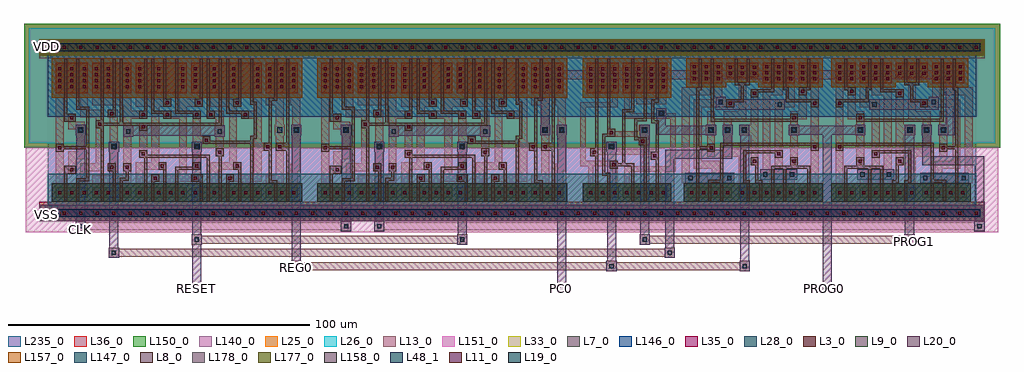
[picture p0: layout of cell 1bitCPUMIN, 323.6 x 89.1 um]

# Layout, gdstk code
from math import pi, radians
import gdstk
lib = gdstk.Library(unit=1e-6, precision=1e-07)
def R(c, l, rs):  # rectangles x0, y0, x1, y1
    for r in rs: c.add(gdstk.rectangle(r[:2], r[2:], *l))
def A(c, l, x, y, w, h, nx, ny, dx, dy):  # array of equal rectangles
    R(c, l, [(x+i*dx, y+j*dy, x+i*dx+w, y+j*dy+h) for i in range(nx) for j in range(ny)])
def P(c, l, *ps):  # polygons
    for p in ps: c.add(gdstk.Polygon(p, *l))
L3_0 = (3, 0)
L7_0 = (7, 0)
L8_0 = (8, 0)
L9_0 = (9, 0)
L11_0 = (11, 0)
L13_0 = (13, 0)
L19_0 = (19, 0)
L20_0 = (20, 0)
L25_0 = (25, 0)
L26_0 = (26, 0)
L28_0 = (28, 0)
L33_0 = (33, 0)
L35_0 = (35, 0)
L36_0 = (36, 0)
L48_1 = (48, 1)
L140_0 = (140, 0)
L146_0 = (146, 0)
L147_0 = (147, 0)
L150_0 = (150, 0)
L151_0 = (151, 0)
L157_0 = (157, 0)
L158_0 = (158, 0)
L177_0 = (177, 0)
L178_0 = (178, 0)
L235_0 = (235, 0)

dffr = lib.new_cell('DFFR')
A(dffr, L3_0, -1.3, -1.3, 2.6, 2.6, 17, 2, 5.5, 55)
R(dffr, L3_0, [(2.8,5.1,13.4,8.5), (14.8,5.1,27.8,8.5), (29.2,5.1,46.2,8.5), (47.6,5.1,71,8.5), (72.4,5.1,83,8.5), (2.8,39.7,13.4,49.9), (14.8,39.7,27.8,49.9), (29.2,39.7,46.2,49.9), (47.6,39.7,71,49.9), (72.4,39.7,83,49.9)])
R(dffr, L7_0, [(-2.8,-2.7,90.8,2.7)])
P(dffr, L7_0, [(1.4,38.3),(1.4,51.3),(-2.8,51.3),(-2.8,57.7),(90.8,57.7),(90.8,51.3),(84.4,51.3),(84.4,38.3)])
P(dffr, L8_0, [(34.4,3.9),(34.4,12.9),(37,12.9),(37,10.3),(35.4,10.3),(35.4,3.9)],
  [(50.4,3.9),(50.4,10.3),(47.6,10.3),(47.6,12.9),(51.4,12.9),(51.4,3.9)],
  [(59.2,3.9),(59.2,12.9),(61.8,12.9),(61.8,10.3),(60.2,10.3),(60.2,3.9)],
  [(5.6,3.9),(5.6,15.6),(9.4,15.6),(9.4,13),(6.6,13),(6.6,3.9)],
  [(21.6,3.9),(21.6,13.9),(20,13.9),(20,16.5),(22.6,16.5),(22.6,3.9)],
  [(24,3.9),(24,11.7),(25.9,11.7),(25.9,13.9),(25.1,13.9),(25.1,16.5),(27.7,16.5),(27.7,13.9),(26.9,13.9),(26.9,10.7),(25,10.7),(25,3.9)],
  [(38.4,3.9),(38.4,14.3),(36.8,14.3),(36.8,16.9),(39.4,16.9),(39.4,3.9)],
  [(42.4,3.9),(42.4,15.3),(48.2,15.3),(48.2,16.9),(50.8,16.9),(50.8,14.3),(43.4,14.3),(43.4,3.9)],
  [(63.2,3.9),(63.2,14.3),(61.6,14.3),(61.6,16.9),(64.2,16.9),(64.2,3.9)],
  [(32,3.9),(32,18.3),(30.4,18.3),(30.4,20.9),(33,20.9),(33,19.3),(53.8,19.3),(53.8,3.9),(52.8,3.9),(52.8,18.3),(33,18.3),(33,3.9)],
  [(56.8,3.9),(56.8,18.9),(55.8,18.9),(55.8,21.5),(58.4,21.5),(58.4,18.9),(57.8,18.9),(57.8,3.9)],
  [(5.6,30.3),(5.6,51.1),(6.6,51.1),(6.6,32.9),(9.4,32.9),(9.4,30.3)],
  [(9.6,3.9),(9.6,11.6),(12.9,11.6),(12.9,21.2),(5.4,21.2),(5.4,20.4),(2.8,20.4),(2.8,23),(5.4,23),(5.4,22.2),(12.9,22.2),(12.9,34.3),(9.6,34.3),(9.6,51.1),(10.6,51.1),(10.6,35.3),(13.9,35.3),(13.9,10.6),(10.6,10.6),(10.6,3.9)],
  [(20,31.7),(20,34.3),(21.6,34.3),(21.6,51.1),(22.6,51.1),(22.6,31.7)],
  [(30.4,31.3),(30.4,33.9),(32,33.9),(32,51.1),(33,51.1),(33,31.3)],
  [(38.4,31.3),(38.4,32.9),(34.4,32.9),(34.4,51.1),(35.4,51.1),(35.4,33.9),(41,33.9),(41,31.3)],
  [(38.4,35.3),(38.4,51.1),(39.4,51.1),(39.4,37.9),(41,37.9),(41,35.3)],
  [(48.2,31.3),(48.2,32.9),(42.4,32.9),(42.4,51.1),(43.4,51.1),(43.4,33.9),(50.8,33.9),(50.8,31.3)],
  [(48.8,35.3),(48.8,37.9),(50.4,37.9),(50.4,51.1),(51.4,51.1),(51.4,35.3)],
  [(52.8,31.3),(52.8,51.1),(53.8,51.1),(53.8,33.9),(55.4,33.9),(55.4,31.3)],
  [(17.6,3.9),(17.6,28.1),(16,28.1),(16,30.7),(17.6,30.7),(17.6,51.1),(18.6,51.1),(18.6,29.9),(24,29.9),(24,51.1),(25,51.1),(25,29.9),(56.8,29.9),(56.8,51.1),(57.8,51.1),(57.8,28.9),(33,28.9),(33,27.3),(30.4,27.3),(30.4,28.9),(18.6,28.9),(18.6,3.9)],
  [(64.2,31.3),(64.2,32.9),(59.2,32.9),(59.2,51.1),(60.2,51.1),(60.2,33.9),(66.8,33.9),(66.8,31.3)],
  [(61.6,35.3),(61.6,37.9),(63.2,37.9),(63.2,51.1),(64.2,51.1),(64.2,35.3)],
  [(67.2,3.9),(67.2,22.9),(51.4,22.9),(51.4,25.5),(54,25.5),(54,23.9),(67.2,23.9),(67.2,25.7),(68.4,25.7),(68.4,35.9),(67.2,35.9),(67.2,51.1),(68.2,51.1),(68.2,36.9),(69.4,36.9),(69.4,24.7),(68.2,24.7),(68.2,3.9)],
  [(75.2,3.9),(75.2,9.9),(73.3,9.9),(73.3,20.7),(71.7,20.7),(71.7,23.3),(73.3,23.3),(73.3,38.3),(75.2,38.3),(75.2,51.1),(76.2,51.1),(76.2,37.3),(74.3,37.3),(74.3,10.9),(76.2,10.9),(76.2,3.9)],
  [(79.2,3.9),(79.2,20.7),(75.7,20.7),(75.7,23.3),(79.2,23.3),(79.2,51.1),(80.2,51.1),(80.2,3.9)])
R(dffr, L9_0, [(1.4,3.7,84.4,9.9), (-2.8,52.3,90.8,57.7)])
A(dffr, L11_0, -0.5, -0.5, 1, 1, 17, 2, 5.5, 55)
A(dffr, L11_0, 7.6, 6.3, 1, 1, 4, 2, 4, 35)
A(dffr, L11_0, 40.4, 6.3, 1, 1, 3, 1, 4, 0)
A(dffr, L11_0, 65.2, 6.3, 1, 1, 4, 1, 4, 0)
A(dffr, L11_0, 3.6, 41.3, 1, 1, 1, 4, 0, 2)
A(dffr, L11_0, 7.6, 41.3, 1, 1, 1, 4, 0, 2)
A(dffr, L11_0, 19.6, 41.3, 1, 1, 1, 4, 0, 2)
A(dffr, L11_0, 26, 41.3, 1, 1, 1, 4, 0, 2)
A(dffr, L11_0, 30, 41.3, 1, 1, 1, 4, 0, 2)
A(dffr, L11_0, 44.4, 41.3, 1, 1, 1, 4, 0, 2)
A(dffr, L11_0, 48.4, 41.3, 1, 1, 1, 4, 0, 2)
A(dffr, L11_0, 69.2, 41.3, 1, 1, 3, 4, 4, 2)
A(dffr, L11_0, 77.2, 41.3, 1, 1, 1, 4, 0, 2)
A(dffr, L11_0, 81.2, 41.3, 1, 1, 1, 4, 0, 2)
A(dffr, L11_0, 7.6, 43.3, 1, 1, 4, 3, 4, 2)
R(dffr, L11_0, [(3.6,6.3,4.6,7.3), (7.6,6.3,8.6,7.3), (19.6,6.3,20.6,7.3), (26,6.3,27,7.3), (30,6.3,31,7.3), (36.4,6.3,37.4,7.3), (36.4,6.3,37.4,7.3), (40.4,6.3,41.4,7.3), (54.8,6.3,55.8,7.3), (54.8,6.3,55.8,7.3), (61.2,6.3,62.2,7.3), (61.2,6.3,62.2,7.3), (65.2,6.3,66.2,7.3), (77.2,6.3,78.2,7.3), (81.2,6.3,82.2,7.3), (35.2,11.1,36.2,12.1), (48.4,11.1,49.4,12.1), (60,11.1,61,12.1), (7.6,13.8,8.6,14.8), (20.8,14.7,21.8,15.7), (25.9,14.7,26.9,15.7), (37.6,15.1,38.6,16.1), (49,15.1,50,16.1), (62.4,15.1,63.4,16.1), (31.2,19.1,32.2,20.1), (56.6,19.7,57.6,20.7), (3.6,21.2,4.6,22.2), (72.5,21.5,73.5,22.5), (76.5,21.5,77.5,22.5), (52.2,23.7,53.2,24.7), (31.2,28.1,32.2,29.1), (16.8,28.9,17.8,29.9), (7.6,31.1,8.6,32.1), (31.2,32.1,32.2,33.1), (39.2,32.1,40.2,33.1), (49,32.1,50,33.1), (53.6,32.1,54.6,33.1), (65,32.1,66,33.1), (20.8,32.5,21.8,33.5), (39.2,36.1,40.2,37.1), (49.6,36.1,50.6,37.1), (62.4,36.1,63.4,37.1), (36.4,41.3,37.4,42.3), (36.4,41.3,37.4,42.3), (54.8,41.3,55.8,42.3), (54.8,41.3,55.8,42.3), (61.2,41.3,62.2,42.3), (61.2,41.3,62.2,42.3), (36.4,43.3,37.4,44.3), (36.4,43.3,37.4,44.3), (54.8,43.3,55.8,44.3), (54.8,43.3,55.8,44.3), (61.2,43.3,62.2,44.3), (61.2,43.3,62.2,44.3), (36.4,45.3,37.4,46.3), (36.4,45.3,37.4,46.3), (54.8,45.3,55.8,46.3), (54.8,45.3,55.8,46.3), (61.2,45.3,62.2,46.3), (61.2,45.3,62.2,46.3), (36.4,47.3,37.4,48.3), (36.4,47.3,37.4,48.3), (54.8,47.3,55.8,48.3), (54.8,47.3,55.8,48.3), (61.2,47.3,62.2,48.3), (61.2,47.3,62.2,48.3)])
R(dffr, L13_0, [(2.8,5.1,5.4,49.9), (30.4,18.3,33,29.9)])
P(dffr, L13_0, [(-1.3,-1.3),(-1.3,1.3),(6.8,1.3),(6.8,8.5),(9.4,8.5),(9.4,1.3),(18.8,1.3),(18.8,8.5),(21.4,8.5),(21.4,1.3),(35.6,1.3),(35.6,8.5),(38.2,8.5),(38.2,1.3),(43.6,1.3),(43.6,8.5),(46.2,8.5),(46.2,1.3),(47.6,1.3),(47.6,8.5),(50.2,8.5),(50.2,1.3),(60.4,1.3),(60.4,8.5),(63,8.5),(63,1.3),(68.4,1.3),(68.4,8.5),(71,8.5),(71,1.3),(76.4,1.3),(76.4,8.5),(79,8.5),(79,1.3),(89.3,1.3),(89.3,-1.3)],
  [(6.8,13),(6.8,20.5),(9.7,20.5),(9.7,25.8),(9.3,25.8),(9.3,27.7),(6.8,27.7),(6.8,32.9),(9.4,32.9),(9.4,30.3),(12.3,30.3),(12.3,29.2),(12.7,29.2),(12.7,25.8),(12.3,25.8),(12.3,17.9),(9.4,17.9),(9.4,13)],
  [(48.2,14.3),(48.2,20.3),(47.8,20.3),(47.8,23.7),(48.2,23.7),(48.2,33.9),(50.8,33.9),(50.8,25.5),(54,25.5),(54,22.9),(51.2,22.9),(51.2,20.3),(50.8,20.3),(50.8,14.3)],
  [(55.8,18.9),(55.8,25.3),(55.4,25.3),(55.4,28.7),(55.8,28.7),(55.8,31.3),(52.8,31.3),(52.8,33.9),(58.4,33.9),(58.4,28.7),(58.8,28.7),(58.8,25.3),(58.4,25.3),(58.4,18.9)],
  [(20,13.9),(20,16.5),(20.7,16.5),(20.7,20.3),(20.3,20.3),(20.3,23.7),(20.7,23.7),(20.7,31.7),(20,31.7),(20,34.3),(23.3,34.3),(23.3,23.7),(23.7,23.7),(23.7,20.3),(23.3,20.3),(23.3,13.9)],
  [(10.8,5.1),(10.8,16.5),(16,16.5),(16,31.7),(10.8,31.7),(10.8,49.9),(13.4,49.9),(13.4,34.3),(18.6,34.3),(18.6,13.9),(13.4,13.9),(13.4,5.1)],
  [(14.8,5.1),(14.8,12.5),(25.1,12.5),(25.1,35.7),(14.8,35.7),(14.8,49.9),(17.4,49.9),(17.4,38.3),(27.7,38.3),(27.7,33.9),(33,33.9),(33,31.3),(27.7,31.3),(27.7,28.7),(28.5,28.7),(28.5,25.3),(27.7,25.3),(27.7,9.9),(17.4,9.9),(17.4,5.1)],
  [(25.2,5.1),(25.2,8.5),(29.2,8.5),(29.2,16.9),(34.4,16.9),(34.4,35.3),(29.2,35.3),(29.2,39.7),(25.2,39.7),(25.2,49.9),(31.8,49.9),(31.8,37.9),(41,37.9),(41,35.3),(37,35.3),(37,16.9),(39.4,16.9),(39.4,14.3),(31.8,14.3),(31.8,5.1)],
  [(39.6,5.1),(39.6,10.3),(34.4,10.3),(34.4,12.9),(43.6,12.9),(43.6,31.3),(38.4,31.3),(38.4,33.9),(43.6,33.9),(43.6,49.9),(46.2,49.9),(46.2,37.9),(51.4,37.9),(51.4,35.3),(46.2,35.3),(46.2,12.9),(50.2,12.9),(50.2,10.3),(42.2,10.3),(42.2,5.1)],
  [(54,5.1),(54,16.9),(60.2,16.9),(60.2,35.3),(54,35.3),(54,49.9),(56.6,49.9),(56.6,37.9),(64.2,37.9),(64.2,35.3),(62.8,35.3),(62.8,16.9),(64.2,16.9),(64.2,14.3),(56.6,14.3),(56.6,5.1)],
  [(64.4,5.1),(64.4,10.3),(59.2,10.3),(59.2,12.9),(68.4,12.9),(68.4,31.3),(64.2,31.3),(64.2,33.9),(68.4,33.9),(68.4,49.9),(71,49.9),(71,23.3),(74.3,23.3),(74.3,20.7),(71,20.7),(71,10.3),(67,10.3),(67,5.1)],
  [(72.4,5.1),(72.4,12.5),(75.7,12.5),(75.7,25.8),(75.3,25.8),(75.3,29.2),(75.7,29.2),(75.7,35.7),(72.4,35.7),(72.4,49.9),(75,49.9),(75,38.3),(78.3,38.3),(78.3,29.2),(78.7,29.2),(78.7,25.8),(78.3,25.8),(78.3,9.9),(75,9.9),(75,5.1)],
  [(80.4,5.1),(80.4,16.4),(81.2,16.4),(81.2,25.8),(80.8,25.8),(80.8,29.2),(81.2,29.2),(81.2,35.7),(80.4,35.7),(80.4,49.9),(83,49.9),(83,38.3),(83.8,38.3),(83.8,29.2),(84.2,29.2),(84.2,25.8),(83.8,25.8),(83.8,13.8),(83,13.8),(83,5.1)],
  [(6.8,39.7),(6.8,53.7),(-1.3,53.7),(-1.3,56.3),(89.3,56.3),(89.3,53.7),(79,53.7),(79,39.7),(76.4,39.7),(76.4,53.7),(63,53.7),(63,39.7),(60.4,39.7),(60.4,53.7),(50.2,53.7),(50.2,39.7),(47.6,39.7),(47.6,53.7),(38.2,53.7),(38.2,39.7),(35.6,39.7),(35.6,53.7),(21.4,53.7),(21.4,39.7),(18.8,39.7),(18.8,53.7),(9.4,53.7),(9.4,39.7)])
R(dffr, L19_0, [(26.1,26.3,27.5,27.7), (56.4,26.3,57.8,27.7)])
P(dffr, L20_0, [(25.1,25.3),(25.1,29.1),(58.8,29.1),(58.8,25.3),(55.4,25.3),(55.4,25.7),(28.5,25.7),(28.5,25.3)])
R(dffr, L25_0, [(-6.3,23.2,94.3,61.3)])
R(dffr, L26_0, [(-6.3,23.2,94.3,61.3)])
R(dffr, L28_0, [(-2.8,-2.7,90.8,2.7), (1.4,38.3,84.4,51.3)])
P(dffr, L33_0, [(-2.8,-2.7),(-2.8,3.7),(1.4,3.7),(1.4,9.9),(84.4,9.9),(84.4,3.7),(90.8,3.7),(90.8,-2.7)],
  [(1.4,38.3),(1.4,51.3),(-2.8,51.3),(-2.8,57.7),(90.8,57.7),(90.8,51.3),(84.4,51.3),(84.4,38.3)])
R(dffr, L35_0, [(-2.8,52.3,90.8,57.7)])
P(dffr, L35_0, [(-2.8,-2.7),(-2.8,3.7),(1.4,3.7),(1.4,9.9),(84.4,9.9),(84.4,3.7),(90.8,3.7),(90.8,-2.7)])
R(dffr, L36_0, [(-7.8,21.7,95.8,62.8)])
R(dffr, L48_1, [(-1.3,-1.3,89.3,1.3), (21.1,21.1,22.9,22.9), (48.6,21.1,50.4,22.9), (10.1,26.6,11.9,28.4), (76.1,26.6,77.9,28.4), (81.6,26.6,83.4,28.4), (-1.3,53.7,89.3,56.3)])
R(dffr, L140_0, [(-6.3,23.2,94.3,61.3)])
R(dffr, L147_0, [(0,2.3,88,13.1)])
R(dffr, L150_0, [(-7.8,21.7,95.8,62.8)])
R(dffr, L151_0, [(-7.2,-6.3,95.2,21.7)])
R(dffr, L157_0, [(1.4,38.3,84.4,51.3)])
R(dffr, L158_0, [(1.4,3.7,84.4,9.9)])
R(dffr, L177_0, [(-2.8,52.3,90.8,57.7)])
R(dffr, L178_0, [(-2.8,-2.7,90.8,2.7)])
R(dffr, L235_0, [(0,0,88,55), (0,0,88,55)])
dffr.add(gdstk.Label('CK', (11,25.3), layer=235, texttype=0))
dffr.add(gdstk.Label('D', (22,25), layer=235, texttype=0))
dffr.add(gdstk.Label('RST', (49.5,24.3), layer=235, texttype=0))
dffr.add(gdstk.Label('QB', (77,25.1), layer=235, texttype=0))
dffr.add(gdstk.Label('Q', (82.5,24.8), layer=235, texttype=0))
dffr.add(gdstk.Label('n0', (4.1,12.9), layer=235, texttype=0))
dffr.add(gdstk.Label('n7', (13.4,15.2), layer=235, texttype=0))
dffr.add(gdstk.Label('n10', (19.5,10.6), layer=235, texttype=0))
dffr.add(gdstk.Label('n15', (23,5.1), layer=235, texttype=0))
dffr.add(gdstk.Label('n8', (30.5,12.1), layer=235, texttype=0))
dffr.add(gdstk.Label('n16', (23.2,44.3), layer=235, texttype=0))
dffr.add(gdstk.Label('n8', (35.1,26.4), layer=235, texttype=0))
dffr.add(gdstk.Label('n14', (33,5.7), layer=235, texttype=0))
dffr.add(gdstk.Label('n6', (44.9,20), layer=235, texttype=0))
dffr.add(gdstk.Label('n22', (51.7,5.4), layer=235, texttype=0))
dffr.add(gdstk.Label('n26', (55.3,14.6), layer=235, texttype=0))
dffr.add(gdstk.Label('n12', (58,5.3), layer=235, texttype=0))
dffr.add(gdstk.Label('n4', (69.7,25.9), layer=235, texttype=0))
dffr.add(gdstk.Label('n27', (65.3,48), layer=235, texttype=0))
dffr.add(gdstk.Label('n23', (58,48.7), layer=235, texttype=0))
dffr.add(gdstk.Label('n13', (51.4,48.9), layer=235, texttype=0))
dffr.add(gdstk.Label('n9', (40.2,48.7), layer=235, texttype=0))
dffr.add(gdstk.Label('M20', (57.3,45.2), layer=235, texttype=0))
dffr.add(gdstk.Label('M13', (50.9,7), layer=235, texttype=0))
dffr.add(gdstk.Label('M25', (53.3,7), layer=235, texttype=0))
dffr.add(gdstk.Label('M30', (42.9,7), layer=235, texttype=0))
dffr.add(gdstk.Label('M11', (38.9,7), layer=235, texttype=0))
dffr.add(gdstk.Label('M7', (32.5,45), layer=235, texttype=0))
dffr.add(gdstk.Label('M6', (24.5,45), layer=235, texttype=0))
dffr.add(gdstk.Label('M12', (24.5,7), layer=235, texttype=0))
dffr.add(gdstk.Label('M10', (32.5,7), layer=235, texttype=0))
dffr.add(gdstk.Label('M4', (34.9,45), layer=235, texttype=0))
dffr.add(gdstk.Label('M27', (34.9,7), layer=235, texttype=0))
dffr.add(gdstk.Label('M5', (38.9,45), layer=235, texttype=0))
dffr.add(gdstk.Label('M28', (42.9,45), layer=235, texttype=0))
dffr.add(gdstk.Label('M23', (57.3,7), layer=235, texttype=0))
dffr.add(gdstk.Label('M21', (59.7,7), layer=235, texttype=0))
dffr.add(gdstk.Label('M14', (50.9,45), layer=235, texttype=0))
dffr.add(gdstk.Label('M16', (63.7,45), layer=235, texttype=0))
dffr.add(gdstk.Label('M22', (63.7,7), layer=235, texttype=0))
dffr.add(gdstk.Label('M17', (75.7,45), layer=235, texttype=0))
dffr.add(gdstk.Label('M18', (79.7,45), layer=235, texttype=0))
dffr.add(gdstk.Label('M26', (75.7,7), layer=235, texttype=0))
dffr.add(gdstk.Label('M24', (79.7,7), layer=235, texttype=0))
dffr.add(gdstk.Label('M31', (67.7,7), layer=235, texttype=0))
dffr.add(gdstk.Label('M29', (67.7,45), layer=235, texttype=0))
dffr.add(gdstk.Label('M34', (6.1,45), layer=235, texttype=0))
dffr.add(gdstk.Label('M0', (10.1,45), layer=235, texttype=0))
dffr.add(gdstk.Label('M2', (18.1,45), layer=235, texttype=0))
dffr.add(gdstk.Label('M3', (22.1,45), layer=235, texttype=0))
dffr.add(gdstk.Label('M32', (6.1,7), layer=235, texttype=0))
dffr.add(gdstk.Label('M1', (10.1,7), layer=235, texttype=0))
dffr.add(gdstk.Label('M8', (18.1,7), layer=235, texttype=0))
dffr.add(gdstk.Label('M9', (22.1,7), layer=235, texttype=0))
dffr.add(gdstk.Label('D', (22,22), layer=48, texttype=0))
dffr.add(gdstk.Label('RST', (49.5,22), layer=48, texttype=0))
dffr.add(gdstk.Label('QB', (77,27.5), layer=48, texttype=0))
dffr.add(gdstk.Label('Q', (82.5,27.5), layer=48, texttype=0))
dffr.add(gdstk.Label('gnd', (0,0), layer=48, texttype=0))
dffr.add(gdstk.Label('CK', (11,27.5), layer=48, texttype=0))
dffr.add(gdstk.Label('vdd', (0,55), layer=48, texttype=0))
dffr.add(gdstk.Label('via1', (57.1,27), layer=19, texttype=0))
dffr.add(gdstk.Label('via1', (26.8,27), layer=19, texttype=0))

xor2 = lib.new_cell('XOR2')
A(xor2, L3_0, -1.3, -1.3, 2.6, 2.6, 7, 2, 5.5, 55)
R(xor2, L3_0, [(2.8,5.1,13.4,8.5), (14.8,5.1,29.4,8.5), (2.8,39.7,13.4,49.9), (14.8,39.7,29.4,49.9)])
R(xor2, L7_0, [(-2.8,-2.7,35.8,2.7)])
P(xor2, L7_0, [(1.4,38.3),(1.4,51.3),(-2.8,51.3),(-2.8,57.7),(35.8,57.7),(35.8,51.3),(30.8,51.3),(30.8,38.3)])
P(xor2, L8_0, [(5.6,3.9),(5.6,18.8),(4,18.8),(4,21.4),(5.6,21.4),(5.6,51.1),(6.6,51.1),(6.6,3.9)],
  [(9.6,3.9),(9.6,12.3),(7.9,12.3),(7.9,26.3),(9.6,26.3),(9.6,51.1),(10.6,51.1),(10.6,27.9),(12.2,27.9),(12.2,25.3),(8.9,25.3),(8.9,13.3),(10.6,13.3),(10.6,3.9)],
  [(17.6,3.9),(17.6,15.5),(13,15.5),(13,14.7),(10.4,14.7),(10.4,17.3),(13,17.3),(13,16.5),(14.6,16.5),(14.6,34.4),(17.6,34.4),(17.6,51.1),(18.6,51.1),(18.6,33.4),(15.6,33.4),(15.6,16.5),(18.6,16.5),(18.6,3.9)],
  [(21.6,3.9),(21.6,22.5),(20,22.5),(20,24.1),(18.5,24.1),(18.5,31.4),(21.6,31.4),(21.6,51.1),(22.6,51.1),(22.6,30.4),(19.5,30.4),(19.5,25.1),(22.6,25.1),(22.6,3.9)],
  [(25.6,3.9),(25.6,17.7),(24,17.7),(24,20.3),(25.6,20.3),(25.6,29.8),(24.1,29.8),(24.1,37.5),(25.6,37.5),(25.6,51.1),(26.6,51.1),(26.6,36.5),(25.1,36.5),(25.1,30.8),(26.6,30.8),(26.6,3.9)])
R(xor2, L9_0, [(1.4,3.7,30.8,9.9), (-2.8,52.3,35.8,57.7)])
A(xor2, L11_0, -0.5, -0.5, 1, 1, 7, 2, 5.5, 55)
A(xor2, L11_0, 7.6, 6.3, 1, 1, 4, 2, 4, 35)
A(xor2, L11_0, 3.6, 41.3, 1, 1, 1, 4, 0, 2)
A(xor2, L11_0, 7.6, 41.3, 1, 1, 1, 4, 0, 2)
A(xor2, L11_0, 19.6, 41.3, 1, 1, 1, 4, 0, 2)
A(xor2, L11_0, 27.6, 41.3, 1, 1, 1, 4, 0, 2)
A(xor2, L11_0, 7.6, 43.3, 1, 1, 4, 3, 4, 2)
R(xor2, L11_0, [(3.6,6.3,4.6,7.3), (7.6,6.3,8.6,7.3), (19.6,6.3,20.6,7.3), (23.6,6.3,24.6,7.3), (23.6,6.3,24.6,7.3), (27.6,6.3,28.6,7.3), (11.2,15.5,12.2,16.5), (24.8,18.5,25.8,19.5), (4.8,19.6,5.8,20.6), (20.8,23.3,21.8,24.3), (10.4,26.1,11.4,27.1), (23.6,41.3,24.6,42.3), (23.6,41.3,24.6,42.3), (23.6,43.3,24.6,44.3), (23.6,43.3,24.6,44.3), (23.6,45.3,24.6,46.3), (23.6,45.3,24.6,46.3), (23.6,47.3,24.6,48.3), (23.6,47.3,24.6,48.3)])
R(xor2, L13_0, [(22.8,5.1,25.4,8.5), (6.8,39.7,9.4,49.9)])
P(xor2, L13_0, [(-1.3,-1.3),(-1.3,1.3),(6.8,1.3),(6.8,8.5),(9.4,8.5),(9.4,1.3),(18.8,1.3),(18.8,8.5),(21.4,8.5),(21.4,1.3),(34.3,1.3),(34.3,-1.3)],
  [(24,17.7),(24,19.3),(6.6,19.3),(6.6,18.8),(4,18.8),(4,21.4),(6.6,21.4),(6.6,21.1),(9.3,21.1),(9.3,23.7),(12.7,23.7),(12.7,21.1),(26.6,21.1),(26.6,17.7)],
  [(20,22.5),(20,25.3),(9.6,25.3),(9.6,27.9),(12.2,27.9),(12.2,27.1),(20,27.1),(20,29.2),(23.7,29.2),(23.7,22.5)],
  [(2.8,5.1),(2.8,8.5),(3.2,8.5),(3.2,15.5),(0.7,15.5),(0.7,36.8),(11.2,36.8),(11.2,39.7),(10.8,39.7),(10.8,49.9),(13.4,49.9),(13.4,39.7),(13,39.7),(13,35),(2.5,35),(2.5,17.3),(13,17.3),(13,8.5),(13.4,8.5),(13.4,5.1),(10.8,5.1),(10.8,8.5),(11.2,8.5),(11.2,14.7),(10.4,14.7),(10.4,15.5),(5,15.5),(5,8.5),(5.4,8.5),(5.4,5.1)],
  [(14.8,5.1),(14.8,8.5),(15.2,8.5),(15.2,15.5),(30.5,15.5),(30.5,31.3),(15.2,31.3),(15.2,39.7),(14.8,39.7),(14.8,49.9),(17.4,49.9),(17.4,39.7),(17,39.7),(17,33.1),(25.8,33.1),(25.8,34.7),(29.2,34.7),(29.2,33.1),(32.3,33.1),(32.3,13.7),(29,13.7),(29,8.5),(29.4,8.5),(29.4,5.1),(26.8,5.1),(26.8,8.5),(27.2,8.5),(27.2,13.7),(17,13.7),(17,8.5),(17.4,8.5),(17.4,5.1)],
  [(19.2,36.1),(19.2,39.7),(18.8,39.7),(18.8,49.9),(21.4,49.9),(21.4,39.7),(21,39.7),(21,37.9),(27.4,37.9),(27.4,39.7),(26.8,39.7),(26.8,49.9),(29.4,49.9),(29.4,39.7),(29.2,39.7),(29.2,36.1)],
  [(2.8,39.7),(2.8,53.7),(-1.3,53.7),(-1.3,56.3),(34.3,56.3),(34.3,53.7),(25.4,53.7),(25.4,39.7),(22.8,39.7),(22.8,53.7),(5.4,53.7),(5.4,39.7)])
R(xor2, L25_0, [(-6.3,23.2,39.3,61.3)])
R(xor2, L26_0, [(-6.3,23.2,39.3,61.3)])
R(xor2, L28_0, [(-2.8,-2.7,35.8,2.7), (1.4,38.3,30.8,51.3)])
P(xor2, L33_0, [(-2.8,-2.7),(-2.8,3.7),(1.4,3.7),(1.4,9.9),(30.8,9.9),(30.8,3.7),(35.8,3.7),(35.8,-2.7)],
  [(1.4,38.3),(1.4,51.3),(-2.8,51.3),(-2.8,57.7),(35.8,57.7),(35.8,51.3),(30.8,51.3),(30.8,38.3)])
R(xor2, L35_0, [(-2.8,52.3,35.8,57.7)])
P(xor2, L35_0, [(-2.8,-2.7),(-2.8,3.7),(1.4,3.7),(1.4,9.9),(30.8,9.9),(30.8,3.7),(35.8,3.7),(35.8,-2.7)])
R(xor2, L36_0, [(-7.8,21.7,40.8,62.8)])
R(xor2, L48_1, [(-1.3,-1.3,34.3,1.3), (10.1,21.1,11.9,22.9), (21.1,26.6,22.9,28.4), (26.6,32.1,28.4,33.9), (-1.3,53.7,34.3,56.3)])
R(xor2, L140_0, [(-6.3,23.2,39.3,61.3)])
R(xor2, L146_0, [(0,31.9,33,52.7)])
R(xor2, L147_0, [(0,2.3,33,13.1)])
R(xor2, L150_0, [(-7.8,21.7,40.8,62.8)])
R(xor2, L151_0, [(-7.2,-6.3,40.2,21.7)])
R(xor2, L157_0, [(1.4,38.3,30.8,51.3)])
R(xor2, L158_0, [(1.4,3.7,30.8,9.9)])
R(xor2, L177_0, [(-2.8,52.3,35.8,57.7)])
R(xor2, L178_0, [(-2.8,-2.7,35.8,2.7)])
R(xor2, L235_0, [(0,0,33,55)])
xor2.add(gdstk.Label('Y', (27.5,33), layer=48, texttype=0))
xor2.add(gdstk.Label('A', (11,22), layer=48, texttype=0))
xor2.add(gdstk.Label('B', (22,27.5), layer=48, texttype=0))
xor2.add(gdstk.Label('vdd', (0,55), layer=48, texttype=0))
xor2.add(gdstk.Label('gnd', (0,0), layer=48, texttype=0))

mux2 = lib.new_cell('MUX2')
A(mux2, L3_0, -1.3, -1.3, 2.6, 2.6, 10, 2, 5.5, 55)
R(mux2, L3_0, [(2.8,5.1,9.4,8.5), (10.8,5.1,29.4,8.5), (31.6,5.1,46.2,8.5), (2.8,43.1,9.4,49.9), (10.8,43.1,21.4,49.9), (34.8,43.1,45.4,49.9), (22.8,44.8,33.4,49.9)])
R(mux2, L7_0, [(-2.8,-2.7,52.3,2.7)])
P(mux2, L7_0, [(1.4,41.7),(1.4,51.3),(-2.8,51.3),(-2.8,57.7),(52.3,57.7),(52.3,51.3),(46.8,51.3),(46.8,41.7),(33.4,41.7),(33.4,43.4),(22.8,43.4),(22.8,41.7)])
P(mux2, L8_0, [(5.6,3.9),(5.6,15.7),(9.7,15.7),(9.7,18.5),(12.3,18.5),(12.3,15.7),(18.6,15.7),(18.6,3.9),(17.6,3.9),(17.6,14.7),(14.6,14.7),(14.6,3.9),(13.6,3.9),(13.6,14.7),(6.6,14.7),(6.6,3.9)],
  [(21.6,3.9),(21.6,10.9),(22.8,10.9),(22.8,18.5),(25.4,18.5),(25.4,15.9),(23.8,15.9),(23.8,9.9),(22.6,9.9),(22.6,3.9)],
  [(25.6,3.9),(25.6,10.9),(26.8,10.9),(26.8,19.9),(17.4,19.9),(17.4,18.3),(14.8,18.3),(14.8,20.9),(27.8,20.9),(27.8,9.9),(26.6,9.9),(26.6,3.9)],
  [(34.4,3.9),(34.4,22.3),(5.4,22.3),(5.4,20.7),(2.8,20.7),(2.8,23.3),(35.4,23.3),(35.4,11),(39.4,11),(39.4,3.9),(38.4,3.9),(38.4,10),(35.4,10),(35.4,3.9)],
  [(6.8,39.1),(6.8,40.7),(5.6,40.7),(5.6,51.1),(6.6,51.1),(6.6,41.7),(9.4,41.7),(9.4,39.1)],
  [(2.8,35.1),(2.8,37.7),(12.8,37.7),(12.8,41.7),(13.6,41.7),(13.6,51.1),(14.6,51.1),(14.6,40.7),(13.8,40.7),(13.8,36.7),(5.4,36.7),(5.4,35.1)],
  [(22.8,38.4),(22.8,40),(17.6,40),(17.6,51.1),(18.6,51.1),(18.6,41),(25.4,41),(25.4,38.4)],
  [(30.8,35.1),(30.8,36.7),(27.6,36.7),(27.6,42.4),(25.6,42.4),(25.6,51.1),(26.6,51.1),(26.6,43.4),(29.6,43.4),(29.6,51.1),(30.6,51.1),(30.6,42.4),(28.6,42.4),(28.6,37.7),(33.4,37.7),(33.4,35.1)],
  [(9.7,30.3),(9.7,32.9),(12.3,32.9),(12.3,31.3),(37.6,31.3),(37.6,51.1),(38.6,51.1),(38.6,30.3)],
  [(42.4,3.9),(42.4,21.2),(39.8,21.2),(39.8,20.4),(37.2,20.4),(37.2,23),(39.8,23),(39.8,22.2),(42.4,22.2),(42.4,40.7),(41.6,40.7),(41.6,51.1),(42.6,51.1),(42.6,41.7),(43.4,41.7),(43.4,3.9)])
R(mux2, L9_0, [(1.4,3.7,47.6,9.9), (-2.8,52.3,52.3,57.7)])
A(mux2, L11_0, -0.5, -0.5, 1, 1, 10, 2, 5.5, 55)
A(mux2, L11_0, 3.6, 6.3, 1, 1, 4, 2, 4, 37.7)
A(mux2, L11_0, 15.6, 44, 1, 1, 1, 3, 0, 2)
A(mux2, L11_0, 19.6, 44, 1, 1, 1, 3, 0, 2)
A(mux2, L11_0, 35.6, 44, 1, 1, 1, 3, 0, 2)
A(mux2, L11_0, 43.6, 44, 1, 1, 1, 3, 0, 2)
A(mux2, L11_0, 3.6, 46, 1, 1, 4, 2, 4, 2)
R(mux2, L11_0, [(15.6,6.3,16.6,7.3), (19.6,6.3,20.6,7.3), (19.6,6.3,20.6,7.3), (23.6,6.3,24.6,7.3), (23.6,6.3,24.6,7.3), (27.6,6.3,28.6,7.3), (32.4,6.3,33.4,7.3), (36.4,6.3,37.4,7.3), (36.4,6.3,37.4,7.3), (40.4,6.3,41.4,7.3), (40.4,6.3,41.4,7.3), (44.4,6.3,45.4,7.3), (10.5,16.7,11.5,17.7), (23.6,16.7,24.6,17.7), (15.6,19.1,16.6,20.1), (38,21.2,39,22.2), (3.6,21.5,4.6,22.5), (10.5,31.1,11.5,32.1), (3.6,35.9,4.6,36.9), (31.6,35.9,32.6,36.9), (23.6,39.2,24.6,40.2), (7.6,39.9,8.6,40.9), (39.6,44,40.6,45), (39.6,44,40.6,45), (23.6,45.9,24.6,46.9), (27.6,45.9,28.6,46.9), (27.6,45.9,28.6,46.9), (31.6,45.9,32.6,46.9), (39.6,46,40.6,47), (39.6,46,40.6,47), (23.6,47.9,24.6,48.9), (27.6,47.9,28.6,48.9), (27.6,47.9,28.6,48.9), (31.6,47.9,32.6,48.9), (39.6,48,40.6,49), (39.6,48,40.6,49)])
R(mux2, L13_0, [(2.8,5.1,5.4,49.9)])
P(mux2, L13_0, [(-1.3,-1.3),(-1.3,1.3),(6.8,1.3),(6.8,8.5),(9.4,8.5),(9.4,1.3),(22.8,1.3),(22.8,8.5),(25.4,8.5),(25.4,1.3),(43.6,1.3),(43.6,8.5),(46.2,8.5),(46.2,1.3),(50.8,1.3),(50.8,-1.3)],
  [(31.6,5.1),(31.6,9.9),(30.8,9.9),(30.8,13.3),(34.2,13.3),(34.2,5.1)],
  [(10.8,5.1),(10.8,11.1),(10,11.1),(10,14.5),(13.4,14.5),(13.4,5.1)],
  [(37.2,18.7),(37.2,25.8),(36.8,25.8),(36.8,29.2),(37.2,29.2),(37.2,33.7),(39.8,33.7),(39.8,29.2),(40.2,29.2),(40.2,25.8),(39.8,25.8),(39.8,18.7)],
  [(22.8,15.9),(22.8,41),(25.4,41),(25.4,29.2),(29.2,29.2),(29.2,25.8),(25.4,25.8),(25.4,15.9)],
  [(9.7,15.9),(9.7,25.8),(9.3,25.8),(9.3,29.2),(9.7,29.2),(9.7,31.1),(6.8,31.1),(6.8,41.7),(9.4,41.7),(9.4,33.7),(12.3,33.7),(12.3,29.2),(12.7,29.2),(12.7,25.8),(12.3,25.8),(12.3,15.9)],
  [(14.8,5.1),(14.8,34.3),(14,34.3),(14,35.1),(10.8,35.1),(10.8,49.9),(13.4,49.9),(13.4,37.7),(17.4,37.7),(17.4,5.1)],
  [(18.8,5.1),(18.8,39.1),(14.8,39.1),(14.8,49.9),(17.4,49.9),(17.4,41.7),(21.4,41.7),(21.4,14.5),(22.2,14.5),(22.2,11.1),(21.4,11.1),(21.4,5.1)],
  [(26.8,5.1),(26.8,21.3),(31.7,21.3),(31.7,25.8),(31.3,25.8),(31.3,29.2),(31.7,29.2),(31.7,31.1),(26.8,31.1),(26.8,49.9),(29.4,49.9),(29.4,33.7),(34.3,33.7),(34.3,29.2),(34.7,29.2),(34.7,25.8),(34.3,25.8),(34.3,18.7),(29.4,18.7),(29.4,5.1)],
  [(35.6,5.1),(35.6,17.3),(41.6,17.3),(41.6,35.1),(30.8,35.1),(30.8,37.7),(33.6,37.7),(33.6,38.5),(34.8,38.5),(34.8,49.9),(37.4,49.9),(37.4,37.7),(44.2,37.7),(44.2,14.7),(38.2,14.7),(38.2,5.1)],
  [(39.6,5.1),(39.6,12.5),(43.6,12.5),(43.6,13.3),(45.6,13.3),(45.6,39.1),(38.8,39.1),(38.8,49.9),(41.4,49.9),(41.4,41.7),(48.2,41.7),(48.2,9.9),(42.2,9.9),(42.2,5.1)],
  [(6.8,43.1),(6.8,53.7),(-1.3,53.7),(-1.3,56.3),(50.8,56.3),(50.8,53.7),(45.4,53.7),(45.4,43.1),(42.8,43.1),(42.8,53.7),(33.4,53.7),(33.4,44.8),(30.8,44.8),(30.8,53.7),(25.4,53.7),(25.4,44.8),(22.8,44.8),(22.8,53.7),(21.4,53.7),(21.4,43.1),(18.8,43.1),(18.8,53.7),(9.4,53.7),(9.4,43.1)])
R(mux2, L19_0, [(31.8,10.9,33.2,12.3), (44.6,10.9,46,12.3), (11,12.1,12.4,13.5), (19.8,12.1,21.2,13.5), (15,35.3,16.4,36.7), (34.6,36.1,36,37.5)])
R(mux2, L20_0, [(30.8,9.9,47,13.3), (10,11.1,22.2,14.5)])
P(mux2, L20_0, [(14,34.3),(14,37.7),(33.6,37.7),(33.6,38.5),(37,38.5),(37,34.3)])
R(mux2, L25_0, [(-6.3,23.2,55.8,61.3)])
R(mux2, L26_0, [(-6.3,23.2,55.8,61.3)])
R(mux2, L28_0, [(-2.8,-2.7,52.3,2.7)])
P(mux2, L28_0, [(1.4,41.7),(1.4,51.3),(46.8,51.3),(46.8,41.7),(33.4,41.7),(33.4,43.4),(22.8,43.4),(22.8,41.7)])
P(mux2, L33_0, [(-2.8,-2.7),(-2.8,3.7),(1.4,3.7),(1.4,9.9),(47.6,9.9),(47.6,3.7),(52.3,3.7),(52.3,-2.7)],
  [(1.4,41.7),(1.4,51.3),(-2.8,51.3),(-2.8,57.7),(52.3,57.7),(52.3,51.3),(46.8,51.3),(46.8,41.7),(33.4,41.7),(33.4,43.4),(22.8,43.4),(22.8,41.7)])
R(mux2, L35_0, [(-2.8,52.3,52.3,57.7)])
P(mux2, L35_0, [(-2.8,-2.7),(-2.8,3.7),(1.4,3.7),(1.4,9.9),(47.6,9.9),(47.6,3.7),(52.3,3.7),(52.3,-2.7)])
R(mux2, L36_0, [(-7.8,21.7,57.3,62.8)])
A(mux2, L48_1, 26.6, 26.6, 1.8, 1.8, 3, 1, 5.5, 0)
R(mux2, L48_1, [(-1.3,-1.3,50.8,1.3), (10.1,26.6,11.9,28.4), (-1.3,53.7,50.8,56.3)])
R(mux2, L140_0, [(-6.3,23.2,55.8,61.3)])
R(mux2, L146_0, [(0,31.9,49.5,52.7)])
R(mux2, L147_0, [(0,2.3,49.5,13.1)])
R(mux2, L150_0, [(-7.8,21.7,57.3,62.8)])
R(mux2, L151_0, [(-7.2,-6.3,56.7,21.7)])
P(mux2, L157_0, [(1.4,41.7),(1.4,51.3),(46.8,51.3),(46.8,41.7),(33.4,41.7),(33.4,43.4),(22.8,43.4),(22.8,41.7)])
R(mux2, L158_0, [(1.4,3.7,47.6,9.9)])
R(mux2, L177_0, [(-2.8,52.3,52.3,57.7)])
R(mux2, L178_0, [(-2.8,-2.7,52.3,2.7)])
R(mux2, L235_0, [(0,0,49.5,55)])
mux2.add(gdstk.Label('B', (24.1,24.4), layer=235, texttype=0))
mux2.add(gdstk.Label('S', (11,29.8), layer=235, texttype=0))
mux2.add(gdstk.Label('SN', (4.1,29.7), layer=235, texttype=0))
mux2.add(gdstk.Label('PASS1', (46.9,25.1), layer=235, texttype=0))
mux2.add(gdstk.Label('OUT', (42.9,26.9), layer=235, texttype=0))
mux2.add(gdstk.Label('OUT', (16.1,27.2), layer=235, texttype=0))
mux2.add(gdstk.Label('PASS2', (20.1,24.3), layer=235, texttype=0))
mux2.add(gdstk.Label('Y', (33,24.2), layer=235, texttype=0))
mux2.add(gdstk.Label('A', (38.5,24.3), layer=235, texttype=0))
mux2.add(gdstk.Label('M6', (42.9,6.8), layer=235, texttype=0))
mux2.add(gdstk.Label('M7', (34.9,6.8), layer=235, texttype=0))
mux2.add(gdstk.Label('M5', (6.1,7), layer=235, texttype=0))
mux2.add(gdstk.Label('M1', (26.1,6.8), layer=235, texttype=0))
mux2.add(gdstk.Label('M4', (18.1,6.7), layer=235, texttype=0))
mux2.add(gdstk.Label('M3', (22.1,6.7), layer=235, texttype=0))
mux2.add(gdstk.Label('M4', (14.1,6.7), layer=235, texttype=0))
mux2.add(gdstk.Label('M7', (38.9,6.8), layer=235, texttype=0))
mux2.add(gdstk.Label('S', (11,27.5), layer=48, texttype=0))
mux2.add(gdstk.Label('B', (27.5,27.5), layer=48, texttype=0))
mux2.add(gdstk.Label('Y', (33,27.5), layer=48, texttype=0))
mux2.add(gdstk.Label('A', (38.5,27.5), layer=48, texttype=0))
mux2.add(gdstk.Label('gnd', (0,0), layer=48, texttype=0))
mux2.add(gdstk.Label('vdd', (0,55), layer=48, texttype=0))
mux2.add(gdstk.Label('via1', (20.5,12.8), layer=19, texttype=0))
mux2.add(gdstk.Label('via1', (32.5,11.6), layer=19, texttype=0))
mux2.add(gdstk.Label('via1', (11.7,12.8), layer=19, texttype=0))
mux2.add(gdstk.Label('via1', (45.3,11.6), layer=19, texttype=0))
mux2.add(gdstk.Label('via1', (35.3,36.8), layer=19, texttype=0))
mux2.add(gdstk.Label('via1', (15.7,36), layer=19, texttype=0))

via = lib.new_cell('Via')
R(via, L13_0, [(-1.7,-1.7,1.7,1.7)])
R(via, L19_0, [(-0.7,-0.7,0.7,0.7)])
R(via, L20_0, [(-1.7,-1.7,1.7,1.7)])

c_1bitcpumin = lib.new_cell('1bitCPUMIN')
R(c_1bitcpumin, L146_0, [(-12.2,18.2,163.8,39)])
c_1bitcpumin.add(gdstk.FlexPath([(-1.2,-18.1),(86.8,-18.1)], 2.6, ends="flush", simple_path=True, layer=13, datatype=0))  # L13_0
c_1bitcpumin.add(gdstk.FlexPath([(37.3,-22.5),(125.3,-22.5)], 2.6, ends="flush", simple_path=True, layer=13, datatype=0))  # L13_0
c_1bitcpumin.add(gdstk.FlexPath([(70.3,-31.3),(174.8,-31.3)], 2.6, ends="flush", simple_path=True, layer=13, datatype=0))  # L13_0
c_1bitcpumin.add(gdstk.FlexPath([(124.3,-26.9),(127.3,-26.9),(127.3,-26.9)], 2.6, ends="flush", simple_path=True, layer=13, datatype=0))  # L13_0
c_1bitcpumin.add(gdstk.FlexPath([(126,-26.9),(194.2,-26.9)], 2.6, ends="flush", simple_path=True, layer=13, datatype=0))  # L13_0
c_1bitcpumin.add(gdstk.FlexPath([(126,-26.9),(9.3,-26.9),(9.3,-26.9)], 2.6, ends="flush", simple_path=True, layer=13, datatype=0))  # L13_0
c_1bitcpumin.add(gdstk.FlexPath([(273.8,-22.5),(185.8,-22.5)], 2.6, ends="flush", simple_path=True, layer=13, datatype=0))  # L13_0
c_1bitcpumin.add(gdstk.FlexPath([(174.8,-31.3),(219,-31.3)], 2.6, ends="flush", simple_path=True, layer=13, datatype=0))  # L13_0
c_1bitcpumin.add(gdstk.FlexPath([(97.8,-18.1),(296.8,-18.1)], 2.6, ends="flush", simple_path=True, layer=13, datatype=0))  # L13_0
c_1bitcpumin.add(gdstk.FlexPath([(-1.2,13.8),(-1.2,-18.1)], 3, ends="flush", simple_path=True, layer=20, datatype=0))  # L20_0
c_1bitcpumin.add(gdstk.FlexPath([(86.8,-18.1),(86.8,13.8)], 3, ends="flush", simple_path=True, layer=20, datatype=0))  # L20_0
c_1bitcpumin.add(gdstk.FlexPath([(9.8,8.3),(9.8,-27.3)], 3, ends="flush", simple_path=True, layer=20, datatype=0))  # L20_0
c_1bitcpumin.add(gdstk.FlexPath([(37.3,8.3),(37.3,-22.5)], 3, ends="flush", simple_path=True, layer=20, datatype=0))  # L20_0
c_1bitcpumin.add(gdstk.FlexPath([(125.3,8.3),(125.3,-22.5)], 3, ends="flush", simple_path=True, layer=20, datatype=0))  # L20_0
c_1bitcpumin.add(gdstk.FlexPath([(70.3,-31.3),(70.3,13.8)], 3, ends="flush", simple_path=True, layer=20, datatype=0))  # L20_0
c_1bitcpumin.add(gdstk.FlexPath([(174.8,8.3),(174.8,-31.3)], 3, ends="flush", simple_path=True, layer=20, datatype=0))  # L20_0
c_1bitcpumin.add(gdstk.FlexPath([(219,-31.3),(219,13.8)], 3, ends="flush", simple_path=True, layer=20, datatype=0))  # L20_0
c_1bitcpumin.add(gdstk.FlexPath([(279.3,13.8),(279.3,3.6),(296.8,3.6),(296.8,-18.1)], 3, ends="flush", simple_path=True, layer=20, datatype=0))  # L20_0
c_1bitcpumin.add(gdstk.FlexPath([(191.3,19.3),(191.3,13.8),(207.8,13.8)], 3, ends="flush", simple_path=True, layer=20, datatype=0))  # L20_0
c_1bitcpumin.add(gdstk.FlexPath([(213.3,13.8),(213.3,5.8),(194.1,5.8),(194.1,-22.5)], 3, ends="flush", simple_path=True, layer=20, datatype=0))  # L20_0
c_1bitcpumin.add(gdstk.FlexPath([(235.3,13.8),(257.3,13.8)], 3, ends="flush", simple_path=True, layer=20, datatype=0))  # L20_0
c_1bitcpumin.add(gdstk.FlexPath([(287.1,12.1),(287.1,32.1),(152,32.1)], 3, ends="flush", simple_path=True, layer=20, datatype=0))  # L20_0
c_1bitcpumin.add(gdstk.FlexPath([(152.8,13.8),(152.8,33.6)], 3, ends="flush", simple_path=True, layer=20, datatype=0))  # L20_0
c_1bitcpumin.add(gdstk.FlexPath([(194.1,-22.5),(194.1,-26.9),(194.1,-26.9)], 3, ends="flush", simple_path=True, layer=20, datatype=0))  # L20_0
c_1bitcpumin.add(gdstk.FlexPath([(185.8,13.8),(185.8,-22.7)], 3, ends="flush", simple_path=True, layer=20, datatype=0))  # L20_0
c_1bitcpumin.add(gdstk.FlexPath([(97.8,8.3),(97.8,-18.1)], 3, ends="flush", simple_path=True, layer=20, datatype=0))  # L20_0
c_1bitcpumin.add(gdstk.FlexPath([(273.6,13.8),(273.6,-22.7)], 3, ends="flush", simple_path=True, layer=20, datatype=0))  # L20_0
c_1bitcpumin.add(gdstk.FlexPath([(158.3,13.8),(158.3,-39.9)], 3, ends="flush", simple_path=True, layer=20, datatype=0))  # L20_0
c_1bitcpumin.add(gdstk.FlexPath([(246.3,13.8),(246.3,-40)], 3, ends="flush", simple_path=True, layer=20, datatype=0))  # L20_0
c_1bitcpumin.add(gdstk.FlexPath([(37.3,-22.5),(37.3,-40)], 3, ends="flush", simple_path=True, layer=20, datatype=0))  # L20_0
c_1bitcpumin.add(gdstk.Reference(dffr, (-12.2,-13.7)))
c_1bitcpumin.add(gdstk.Reference(dffr, (75.8,-13.7)))
c_1bitcpumin.add(gdstk.Reference(xor2, (163.8,-13.7)))
c_1bitcpumin.add(gdstk.Reference(mux2, (246.3,-13.7), rotation=pi, x_reflection=True))
c_1bitcpumin.add(gdstk.Reference(mux2, (246.3,-13.7)))
c_1bitcpumin.add(gdstk.Reference(via, (-1.2,13.8)))
c_1bitcpumin.add(gdstk.Reference(via, (86.8,13.8)))
c_1bitcpumin.add(gdstk.Reference(via, (86.8,-18.1)))
c_1bitcpumin.add(gdstk.Reference(via, (-1.2,-18.1)))
c_1bitcpumin.add(gdstk.Reference(via, (37.3,8.3)))
c_1bitcpumin.add(gdstk.Reference(via, (125.3,8.3)))
c_1bitcpumin.add(gdstk.Reference(via, (9.8,8.3)))
c_1bitcpumin.add(gdstk.Reference(via, (9.8,-26.9)))
c_1bitcpumin.add(gdstk.Reference(via, (37.3,-22.5)))
c_1bitcpumin.add(gdstk.Reference(via, (125.3,-22.5)))
c_1bitcpumin.add(gdstk.Reference(via, (70.3,13.8)))
c_1bitcpumin.add(gdstk.Reference(via, (174.8,8.3)))
c_1bitcpumin.add(gdstk.Reference(via, (70.3,-31.3)))
c_1bitcpumin.add(gdstk.Reference(via, (174.8,-31.3)))
c_1bitcpumin.add(gdstk.Reference(via, (218.8,13.8)))
c_1bitcpumin.add(gdstk.Reference(via, (219,-31.3)))
c_1bitcpumin.add(gdstk.Reference(via, (296.8,-18.1)))
c_1bitcpumin.add(gdstk.Reference(via, (191.3,19.3)))
c_1bitcpumin.add(gdstk.Reference(via, (207.8,13.8)))
c_1bitcpumin.add(gdstk.Reference(via, (213.3,13.8)))
c_1bitcpumin.add(gdstk.Reference(via, (235.3,13.8)))
c_1bitcpumin.add(gdstk.Reference(via, (257.3,13.8)))
c_1bitcpumin.add(gdstk.Reference(via, (284.8,13.8)))
c_1bitcpumin.add(gdstk.Reference(via, (152.8,13.8)))
c_1bitcpumin.add(gdstk.Reference(via, (158.3,13.8)))
c_1bitcpumin.add(gdstk.Reference(via, (194.1,-26.9)))
c_1bitcpumin.add(gdstk.Reference(via, (273.8,13.8)))
c_1bitcpumin.add(gdstk.Reference(via, (185.8,13.8)))
c_1bitcpumin.add(gdstk.Reference(via, (185.8,-22.5)))
c_1bitcpumin.add(gdstk.Reference(via, (273.6,-22.5)))
c_1bitcpumin.add(gdstk.Reference(via, (279.3,13.8)))
c_1bitcpumin.add(gdstk.Reference(via, (97.8,-18.1)))
c_1bitcpumin.add(gdstk.Reference(via, (97.8,8.3)))
c_1bitcpumin.add(gdstk.Label('VSS', (-12.5,-14.2), layer=13, texttype=0))
c_1bitcpumin.add(gdstk.Label('VDD', (-12.5,41.6), layer=13, texttype=0))
c_1bitcpumin.add(gdstk.Label('CLK', (-1.4,-19.1), layer=20, texttype=0))
c_1bitcpumin.add(gdstk.Label('RESET', (37.2,-38.7), layer=20, texttype=0))
c_1bitcpumin.add(gdstk.Label('REG0', (70.4,-31.8), layer=20, texttype=0))
c_1bitcpumin.add(gdstk.Label('PC0', (158.2,-38.6), layer=20, texttype=0))
c_1bitcpumin.add(gdstk.Label('PROG0', (245.3,-38.6), layer=20, texttype=0))
c_1bitcpumin.add(gdstk.Label('PROG1', (275.1,-23.3), layer=20, texttype=0))

lib.write_gds('1bitCPUMIN.gds')
